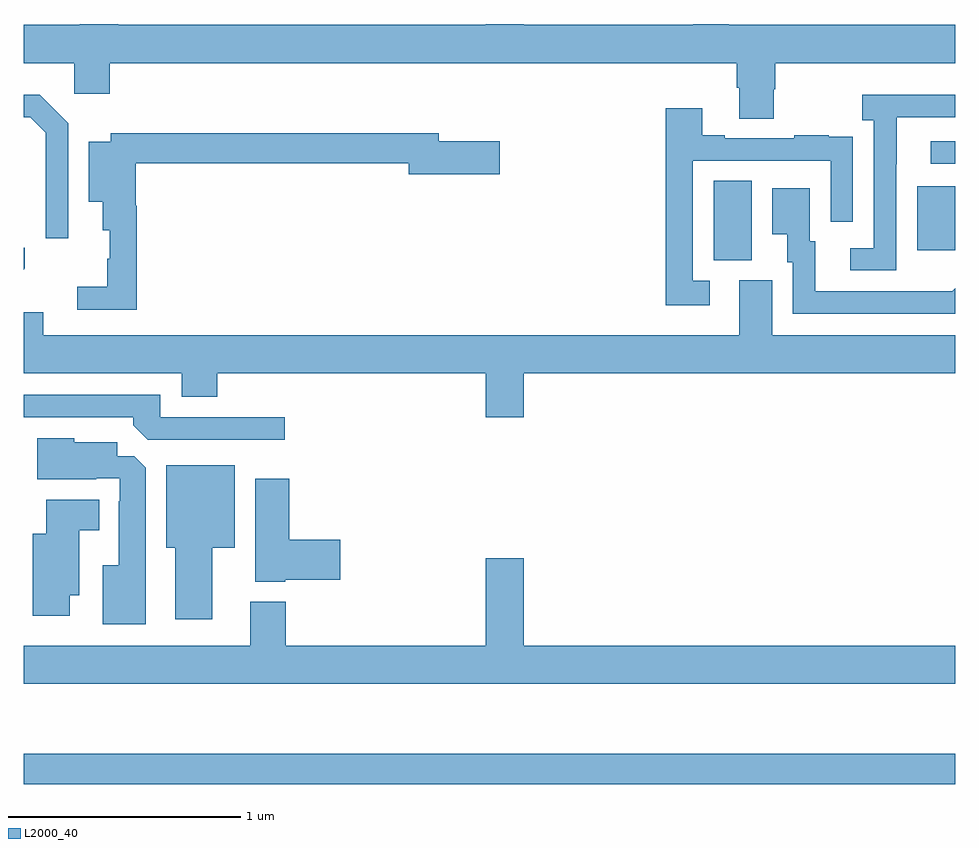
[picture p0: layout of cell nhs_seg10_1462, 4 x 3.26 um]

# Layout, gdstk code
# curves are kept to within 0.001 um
import gdstk
lib = gdstk.Library(unit=1e-6, precision=1e-09)
def R(c, l, rs):  # rectangles x0, y0, x1, y1
    for r in rs: c.add(gdstk.rectangle(r[:2], r[2:], *l))
def P(c, l, *ps):  # polygons
    for p in ps: c.add(gdstk.Polygon(p, *l))
L2000_40 = (2000, 40)

nhs_seg10_1462 = lib.new_cell('nhs_seg10_1462')
R(nhs_seg10_1462, L2000_40, [(187,1281.238,191,1281.367), (189.962,1283.485,190.126,1283.828), (190.835,1283.529,191,1283.803), (190.893,1283.901,191,1283.997)])
P(nhs_seg10_1462, L2000_40, [(190.221,1284.219),(190.226,1284.219),(190.226,1284.332),(191,1284.332),(191,1284.496),(190.026,1284.496),(190.026,1284.5),(189.875,1284.5),(189.875,1284.496),(189.148,1284.496),(189.148,1284.5),(188.984,1284.5),(188.984,1284.496),(187.406,1284.496),(187.406,1284.5),(187.241,1284.5),(187.241,1284.496),(187,1284.496),(187,1284.332),(187.218,1284.332),(187.218,1284.201),(187.37,1284.201),(187.37,1284.332),(190.061,1284.332),(190.061,1284.226),(190.073,1284.226),(190.073,1284.094),(190.221,1284.094)],
  [(187.191,1284.075),(187.07,1284.196),(187,1284.196),(187,1284.099),(187.029,1284.099),(187.095,1284.033),(187.095,1283.58),(187.191,1283.58)],
  [(190.746,1283.899),(190.747,1283.899),(190.747,1284.099),(191,1284.099),(191,1284.196),(190.599,1284.196),(190.599,1284.086),(190.65,1284.086),(190.65,1283.538),(190.548,1283.538),(190.548,1283.442),(190.746,1283.442)],
  [(189.946,1283.397),(189.873,1283.397),(189.873,1283.913),(190.464,1283.913),(190.464,1283.652),(190.56,1283.652),(190.56,1283.906),(190.559,1283.906),(190.559,1284.015),(190.457,1284.015),(190.457,1284.022),(190.309,1284.022),(190.309,1284.009),(190.009,1284.009),(190.009,1284.022),(189.913,1284.022),(189.913,1284.139),(189.757,1284.139),(189.757,1283.292),(189.946,1283.292)],
  [(187.487,1283.719),(187.481,1283.719),(187.481,1283.902),(188.654,1283.902),(188.654,1283.855),(189.043,1283.855),(189.043,1283.997),(188.782,1283.997),(188.782,1284.031),(187.374,1284.031),(187.374,1283.995),(187.28,1283.995),(187.28,1283.738),(187.34,1283.738),(187.34,1283.615),(187.37,1283.615),(187.37,1283.493),(187.359,1283.493),(187.359,1283.373),(187.23,1283.373),(187.23,1283.274),(187.487,1283.274)],
  [(191,1283.366),(190.987,1283.353),(190.399,1283.352),(190.399,1283.568),(190.375,1283.568),(190.375,1283.794),(190.214,1283.794),(190.214,1283.597),(190.277,1283.597),(190.277,1283.478),(190.302,1283.478),(190.302,1283.256),(191,1283.256)],
  [(187.005,1283.451),(187.005,1283.539),(187,1283.539),(187,1283.446)],
  [(189.148,1283),(191,1283),(191,1283.164),(190.213,1283.164),(190.213,1283.4),(190.073,1283.4),(190.073,1283.164),(187.084,1283.164),(187.084,1283.262),(187,1283.262),(187,1283),(187.679,1283),(187.679,1282.901),(187.832,1282.901),(187.832,1283),(188.984,1283),(188.984,1282.812),(189.148,1282.812)],
  [(188.122,1282.812),(187.587,1282.812),(187.587,1282.908),(187,1282.908),(187,1282.812),(187.472,1282.812),(187.472,1282.778),(187.533,1282.716),(188.122,1282.716)],
  [(187.525,1282.595),(187.476,1282.644),(187.402,1282.644),(187.402,1282.705),(187.218,1282.705),(187.218,1282.723),(187.058,1282.723),(187.058,1282.547),(187.313,1282.547),(187.313,1282.551),(187.413,1282.551),(187.413,1282.451),(187.409,1282.451),(187.409,1282.177),(187.34,1282.177),(187.34,1281.923),(187.525,1281.923)],
  [(187.81,1282.253),(187.906,1282.253),(187.906,1282.606),(187.613,1282.606),(187.613,1282.253),(187.652,1282.253),(187.652,1281.945),(187.81,1281.945)],
  [(188.124,1282.115),(188.359,1282.115),(188.359,1282.286),(188.141,1282.286),(188.141,1282.549),(187.994,1282.549),(187.994,1282.106),(188.124,1282.106)],
  [(187.198,1282.049),(187.24,1282.049),(187.24,1282.328),(187.324,1282.328),(187.324,1282.459),(187.097,1282.459),(187.097,1282.312),(187.04,1282.312),(187.04,1281.96),(187.198,1281.96)],
  [(191,1281.832),(189.148,1281.832),(189.148,1282.207),(188.984,1282.207),(188.984,1281.832),(188.126,1281.832),(188.126,1282.021),(187.973,1282.021),(187.973,1281.832),(187,1281.832),(187,1281.668),(191,1281.668)])

lib.write_gds('nhs_seg10_1462.gds')
